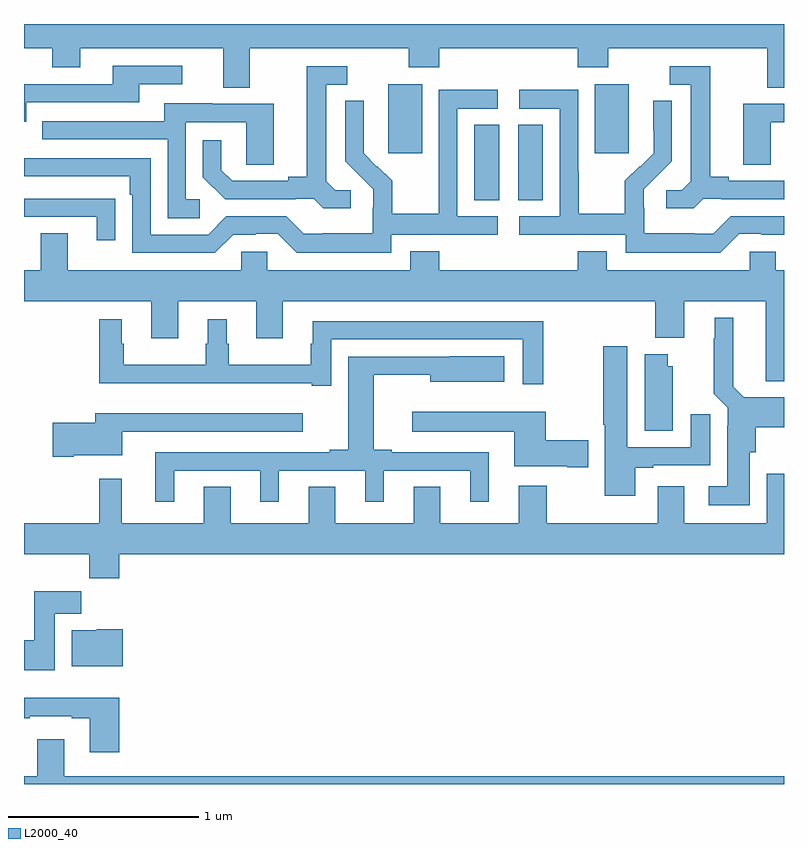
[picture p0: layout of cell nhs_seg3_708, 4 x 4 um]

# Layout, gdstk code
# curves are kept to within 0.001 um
import gdstk
lib = gdstk.Library(unit=1e-6, precision=1e-09)
def R(c, l, rs):  # rectangles x0, y0, x1, y1
    for r in rs: c.add(gdstk.rectangle(r[:2], r[2:], *l))
def P(c, l, *ps):  # polygons
    for p in ps: c.add(gdstk.Polygon(p, *l))
L2000_40 = (2000, 40)

nhs_seg3_708 = lib.new_cell('nhs_seg3_708')
R(nhs_seg3_708, L2000_40, [(149.369,677.473,149.5,677.87), (149.6,677.473,149.731,677.87), (148.916,677.721,149.095,678.082), (150.005,677.721,150.184,678.082)])
P(nhs_seg3_708, L2000_40, [(148.189,678.272),(149.026,678.272),(149.026,678.173),(149.186,678.173),(149.186,678.272),(149.915,678.272),(149.915,678.173),(150.075,678.173),(150.075,678.272),(150.911,678.272),(150.911,678.064),(151,678.064),(151,678.4),(147,678.4),(147,678.272),(147.148,678.272),(147.148,678.173),(147.295,678.173),(147.295,678.272),(148.049,678.272),(148.049,678.064),(148.189,678.064)],
  [(147.012,677.988),(147.607,677.988),(147.607,678.084),(147.832,678.084),(147.832,678.18),(147.467,678.18),(147.467,678.084),(147,678.084),(147,677.885),(147.012,677.885)],
  [(148.72,677.526),(148.638,677.526),(148.591,677.573),(148.591,678.081),(148.702,678.081),(148.702,678.177),(148.487,678.177),(148.487,677.597),(148.391,677.597),(148.391,677.574),(148.096,677.574),(148.039,677.631),(148.039,677.788),(147.942,677.788),(147.942,677.594),(148.058,677.478),(148.43,677.478),(148.43,677.481),(148.524,677.481),(148.576,677.429),(148.72,677.429)],
  [(150.576,677.481),(150.67,677.481),(150.67,677.478),(151,677.478),(151,677.574),(150.709,677.574),(150.709,677.597),(150.613,677.597),(150.613,678.177),(150.399,678.177),(150.399,678.081),(150.509,678.081),(150.509,677.573),(150.462,677.526),(150.381,677.526),(150.381,677.429),(150.524,677.429)],
  [(150.765,677.295),(150.881,677.295),(150.881,677.292),(151,677.291),(151,677.388),(150.72,677.388),(150.627,677.295),(150.527,677.295),(150.527,677.299),(150.264,677.299),(150.264,677.433),(150.262,677.433),(150.262,677.53),(150.408,677.678),(150.408,677.996),(150.312,677.996),(150.312,677.842),(150.314,677.842),(150.314,677.72),(150.243,677.649),(150.24,677.652),(150.163,677.575),(150.163,677.401),(149.919,677.401),(149.919,677.624),(149.916,677.624),(149.916,678.054),(149.607,678.054),(149.607,677.955),(149.82,677.955),(149.82,677.388),(149.607,677.388),(149.607,677.292),(150.168,677.292),(150.168,677.195),(150.665,677.195)],
  [(148.932,677.292),(149.494,677.292),(149.494,677.388),(149.28,677.388),(149.28,677.955),(149.494,677.955),(149.494,678.054),(149.184,678.054),(149.184,677.624),(149.182,677.624),(149.182,677.401),(148.937,677.401),(148.937,677.575),(148.86,677.652),(148.857,677.649),(148.787,677.72),(148.788,677.996),(148.692,677.996),(148.692,677.678),(148.838,677.53),(148.838,677.433),(148.836,677.433),(148.836,677.299),(148.573,677.299),(148.573,677.295),(148.473,677.295),(148.38,677.388),(148.065,677.388),(147.969,677.292),(147.666,677.292),(147.666,677.694),(147,677.694),(147,677.598),(147.557,677.598),(147.557,677.501),(147.57,677.501),(147.57,677.196),(148.005,677.196),(148.101,677.292),(148.22,677.292),(148.22,677.295),(148.335,677.295),(148.435,677.195),(148.932,677.195)],
  [(147.925,677.478),(147.852,677.478),(147.852,677.883),(148.17,677.883),(148.17,677.659),(148.315,677.659),(148.315,677.979),(147.991,677.979),(147.991,677.983),(147.737,677.983),(147.737,677.889),(147.097,677.889),(147.097,677.793),(147.756,677.793),(147.756,677.377),(147.925,677.377)],
  [(150.93,677.883),(151,677.883),(151,677.979),(150.785,677.979),(150.785,677.659),(150.93,677.659)],
  [(147.479,677.48),(147.377,677.48),(147.377,677.481),(147,677.481),(147,677.385),(147.383,677.385),(147.383,677.262),(147.479,677.262)],
  [(151,677.104),(150.957,677.104),(150.957,677.202),(150.819,677.202),(150.819,677.104),(150.067,677.104),(150.067,677.203),(149.915,677.203),(149.915,677.104),(149.186,677.104),(149.186,677.203),(149.033,677.203),(149.033,677.104),(148.281,677.104),(148.281,677.202),(148.143,677.202),(148.143,677.104),(147.229,677.104),(147.229,677.299),(147.089,677.299),(147.089,677.104),(147,677.104),(147,676.94),(147.671,676.94),(147.671,676.746),(147.811,676.746),(147.811,676.94),(148.223,676.94),(148.223,676.746),(148.363,676.746),(148.363,676.94),(150.323,676.94),(150.323,676.748),(150.475,676.748),(150.475,676.94),(150.905,676.94),(150.905,676.52),(151,676.52)],
  [(150.82,676.146),(150.851,676.146),(150.851,676.277),(151,676.277),(151,676.435),(150.789,676.435),(150.733,676.492),(150.733,676.855),(150.635,676.855),(150.635,676.745),(150.631,676.745),(150.631,676.454),(150.705,676.38),(150.705,676.286),(150.701,676.286),(150.701,675.967),(150.603,675.967),(150.603,675.866),(150.82,675.866)],
  [(148.617,676.74),(149.625,676.74),(149.625,676.503),(149.734,676.503),(149.734,676.836),(148.52,676.836),(148.52,676.718),(148.509,676.718),(148.509,676.606),(148.078,676.606),(148.078,676.718),(148.066,676.718),(148.066,676.846),(147.968,676.846),(147.968,676.718),(147.957,676.718),(147.957,676.606),(147.526,676.606),(147.526,676.718),(147.514,676.718),(147.514,676.846),(147.397,676.846),(147.397,676.508),(148.514,676.508),(148.514,676.497),(148.617,676.497)],
  [(150.217,676.065),(150.313,676.065),(150.313,676.077),(150.613,676.077),(150.613,676.345),(150.509,676.345),(150.509,676.173),(150.175,676.173),(150.175,676.705),(150.049,676.705),(150.049,676.291),(150.056,676.291),(150.056,675.918),(150.217,675.918)],
  [(150.415,676.599),(150.388,676.599),(150.388,676.663),(150.266,676.663),(150.266,676.258),(150.415,676.258)],
  [(147.79,676.05),(148.244,676.05),(148.244,675.885),(148.342,675.885),(148.342,676.05),(148.796,676.05),(148.796,675.885),(148.894,675.885),(148.894,676.05),(149.348,676.05),(149.348,675.885),(149.446,675.885),(149.446,676.146),(148.936,676.146),(148.936,676.159),(148.84,676.159),(148.84,676.553),(149.138,676.553),(149.138,676.517),(149.527,676.517),(149.527,676.651),(149.242,676.651),(149.242,676.65),(148.706,676.65),(148.706,676.159),(148.61,676.159),(148.61,676.146),(147.692,676.146),(147.692,675.885),(147.79,675.885)],
  [(149.971,676.208),(149.746,676.208),(149.746,676.36),(149.043,676.36),(149.043,676.253),(149.579,676.253),(149.579,676.073),(149.858,676.073),(149.858,676.066),(149.971,676.066)],
  [(147.262,676.13),(147.517,676.13),(147.517,676.254),(148.468,676.254),(148.468,676.351),(147.374,676.351),(147.374,676.301),(147.15,676.301),(147.15,676.123),(147.262,676.123)],
  [(147.5,675.608),(151,675.608),(151,676.033),(150.909,676.033),(150.909,675.772),(150.475,675.772),(150.475,675.967),(150.335,675.967),(150.335,675.772),(149.751,675.772),(149.751,675.97),(149.603,675.97),(149.603,675.772),(149.191,675.772),(149.191,675.965),(149.051,675.965),(149.051,675.772),(148.639,675.772),(148.639,675.965),(148.499,675.965),(148.499,675.772),(148.087,675.772),(148.087,675.965),(147.947,675.965),(147.947,675.772),(147.515,675.772),(147.515,676.006),(147.397,676.006),(147.397,675.772),(147,675.772),(147,675.608),(147.343,675.608),(147.343,675.484),(147.5,675.484)],
  [(147.163,675.296),(147.302,675.296),(147.302,675.415),(147.053,675.415),(147.053,675.156),(147,675.156),(147,675),(147.163,675)],
  [(147.52,675.214),(147.384,675.214),(147.384,675.208),(147.251,675.208),(147.251,675.02),(147.52,675.02)],
  [(147.5,674.854),(147,674.854),(147,674.745),(147.031,674.745),(147.031,674.757),(147.251,674.757),(147.251,674.745),(147.347,674.745),(147.347,674.568),(147.5,674.568)],
  [(151,674.44),(147.211,674.44),(147.211,674.635),(147.071,674.635),(147.071,674.44),(147,674.44),(147,674.4),(151,674.4)])

lib.write_gds('nhs_seg3_708.gds')
